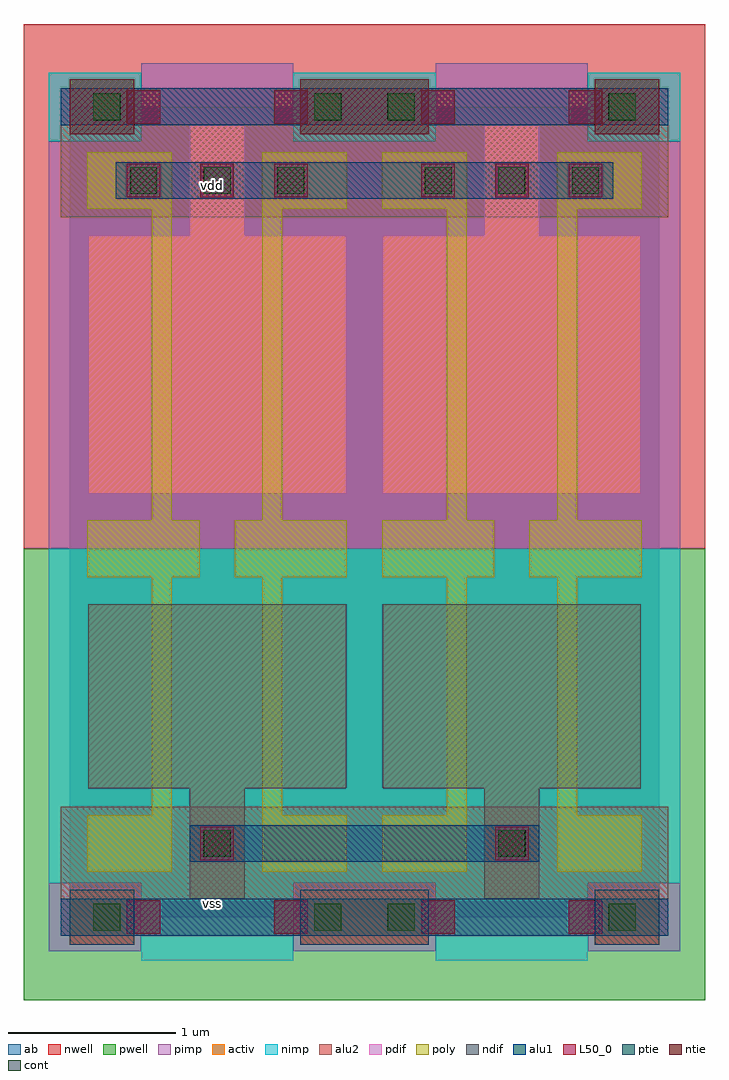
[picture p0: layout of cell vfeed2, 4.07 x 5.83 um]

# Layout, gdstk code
import gdstk
lib = gdstk.Library(unit=1e-6, precision=2.5e-09)
def R(c, l, rs):  # rectangles x0, y0, x1, y1
    for r in rs: c.add(gdstk.rectangle(r[:2], r[2:], *l))
def A(c, l, x, y, w, h, nx, ny, dx, dy):  # array of equal rectangles
    R(c, l, [(x+i*dx, y+j*dy, x+i*dx+w, y+j*dy+h) for i in range(nx) for j in range(ny)])
ndif = (3, 0)
pdif = (4, 0)
ntie = (5, 0)
ptie = (6, 0)
cont = (25, 0)
pwell = (41, 0)
nwell = (42, 0)
activ = (43, 0)
pimp = (44, 0)
nimp = (45, 0)
poly = (46, 0)
alu1 = (49, 0)
L50_0 = (50, 0)
alu2 = (51, 0)
ab = (63, 0)

vfeed2 = lib.new_cell('vfeed2')
R(vfeed2, ndif, [(0.715,0.11,1.045,0.77), (2.475,0.11,2.805,0.77), (0.11,0.77,1.65,1.87), (1.87,0.77,3.41,1.87)])
R(vfeed2, pdif, [(0.11,2.53,1.65,4.07), (1.87,2.53,3.41,4.07), (0.715,4.07,1.045,4.73), (2.475,4.07,2.805,4.73)])
R(vfeed2, ntie, [(0,4.675,0.385,5.005), (1.375,4.675,2.145,5.005), (3.135,4.675,3.52,5.005)])
R(vfeed2, ptie, [(0,-0.165,0.385,0.165), (1.375,-0.165,2.145,0.165), (3.135,-0.165,3.52,0.165)])
A(vfeed2, cont, 0.36, 4.32, 0.16, 0.16, 3, 1, 0.44, 0)
A(vfeed2, cont, 2.12, 4.32, 0.16, 0.16, 3, 1, 0.44, 0)
R(vfeed2, cont, [(0.14,-0.08,0.3,0.08), (1.46,-0.08,1.62,0.08), (1.9,-0.08,2.06,0.08), (3.22,-0.08,3.38,0.08), (0.8,0.36,0.96,0.52), (2.56,0.36,2.72,0.52), (0.14,4.76,0.3,4.92), (1.46,4.76,1.62,4.92), (1.9,4.76,2.06,4.92), (3.22,4.76,3.38,4.92)])
R(vfeed2, pwell, [(-0.275,-0.495,3.795,2.2)])
R(vfeed2, nwell, [(-0.275,2.2,3.795,5.335)])
R(vfeed2, activ, [(0,-0.165,0.385,0.165), (1.375,-0.165,2.145,0.165), (3.135,-0.165,3.52,0.165), (0.715,0.11,1.045,0.77), (2.475,0.11,2.805,0.77), (0.11,0.77,1.65,1.87), (1.87,0.77,3.41,1.87), (0.11,2.53,1.65,4.07), (1.87,2.53,3.41,4.07), (0.715,4.07,1.045,4.73), (2.475,4.07,2.805,4.73), (0,4.675,0.385,5.005), (1.375,4.675,2.145,5.005), (3.135,4.675,3.52,5.005)])
R(vfeed2, pimp, [(-0.125,-0.205,0.425,0.205), (1.335,-0.205,2.185,0.205), (3.095,-0.205,3.645,0.205), (-0.125,2.2,3.645,4.635), (0.425,4.635,1.335,5.1), (2.185,4.635,3.095,5.1)])
R(vfeed2, nimp, [(0.425,-0.26,1.335,0.205), (2.185,-0.26,3.095,0.205), (-0.125,0.205,3.645,2.2), (-0.125,4.635,0.425,5.045), (1.335,4.635,2.185,5.045), (3.095,4.635,3.645,5.045)])
A(vfeed2, poly, 0.105, 2.03, 0.67, 0.34, 4, 1, 0.88, 0)
R(vfeed2, poly, [(0.105,0.27,0.61,0.61), (1.15,0.27,1.655,0.61), (1.865,0.27,2.37,0.61), (2.91,0.27,3.415,0.61), (0.49,0.61,0.61,2.03), (1.15,0.61,1.27,2.03), (2.25,0.61,2.37,2.03), (2.91,0.61,3.03,2.03), (0.49,2.37,0.61,4.23), (1.15,2.37,1.27,4.23), (2.25,2.37,2.37,4.23), (2.91,2.37,3.03,4.23), (0.105,4.23,0.61,4.57), (1.15,4.23,1.655,4.57), (1.865,4.23,2.37,4.57), (2.91,4.23,3.415,4.57)])
R(vfeed2, alu1, [(-0.055,-0.11,3.575,0.11), (0.715,0.33,2.805,0.55), (0.275,4.29,3.245,4.51), (-0.055,4.73,3.575,4.95)])
A(vfeed2, L50_0, 0.34, -0.1, 0.2, 0.2, 4, 2, 0.88, 4.84)
A(vfeed2, L50_0, 0.34, 4.3, 0.2, 0.2, 3, 1, 0.44, 0)
A(vfeed2, L50_0, 2.1, 4.3, 0.2, 0.2, 3, 1, 0.44, 0)
R(vfeed2, L50_0, [(0.78,0.34,0.98,0.54), (2.54,0.34,2.74,0.54)])
R(vfeed2, alu2, [(-0.055,-0.11,3.575,0.66), (-0.055,4.18,3.575,4.95)])
R(vfeed2, ab, [(0,0,3.52,4.84)])
vfeed2.add(gdstk.Label('vss', (0.8525,0.0825), layer=51, texttype=0))
vfeed2.add(gdstk.Label('vdd', (0.8525,4.3725), layer=51, texttype=0))

lib.write_gds('vfeed2.gds')
